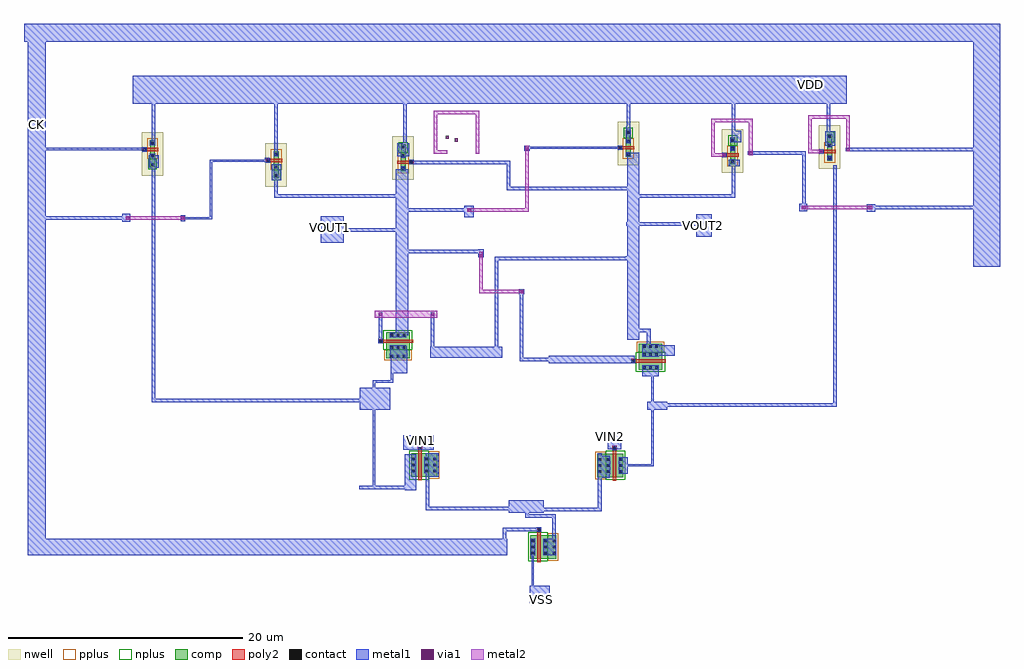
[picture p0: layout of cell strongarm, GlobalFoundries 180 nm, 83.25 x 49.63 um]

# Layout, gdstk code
from math import pi, radians
import gdstk
lib = gdstk.Library(unit=1e-6, precision=5e-09)
def R(c, l, rs):  # rectangles x0, y0, x1, y1
    for r in rs: c.add(gdstk.rectangle(r[:2], r[2:], *l))
def A(c, l, x, y, w, h, nx, ny, dx, dy):  # array of equal rectangles
    R(c, l, [(x+i*dx, y+j*dy, x+i*dx+w, y+j*dy+h) for i in range(nx) for j in range(ny)])
nwell = (21, 0)
comp = (22, 0)
poly2 = (30, 0)
pplus = (31, 0)
nplus = (32, 0)
contact = (33, 0)
metal1 = (34, 0)
via1 = (35, 0)
metal2 = (36, 0)

nfet = lib.new_cell('nfet')
R(nfet, comp, [(-0.42,0,0,2), (0,0,0.66,2), (0.66,0,1.08,2), (1.08,0,1.79,2)])
R(nfet, poly2, [(0.19,-0.3,0.47,2.3), (0.15,2.3,0.51,2.66)])
R(nfet, pplus, [(1.08,-0.17,1.96,2.17)])
R(nfet, nplus, [(-0.59,-0.24,1.08,2.24)])
A(nfet, contact, -0.32, 0.38, 0.22, 0.22, 1, 3, 0, 0.51)
A(nfet, contact, 0.76, 0.38, 0.22, 0.22, 1, 3, 0, 0.51)
A(nfet, contact, 1.47, 0.38, 0.22, 0.22, 1, 3, 0, 0.51)
R(nfet, contact, [(0.22,2.37,0.44,2.59)])
R(nfet, metal1, [(-0.4,0.3,-0.02,1.7), (0.68,0.3,1.06,1.7), (1.39,0.3,1.77,1.7), (0.14,2.29,0.52,2.67)])

pfet = lib.new_cell('pfet')
R(pfet, nwell, [(-1.16,-0.71,2.55,1.13)])
R(pfet, comp, [(-0.46,-0.01,0,0.43), (0.66,-0.01,1.12,0.43), (1.12,-0.01,1.85,0.43), (0,0,0.66,0.42)])
R(pfet, poly2, [(0.19,-0.3,0.47,0.72), (0.14,0.72,0.52,1.1)])
R(pfet, pplus, [(-0.63,-0.25,1.12,0.67)])
R(pfet, nplus, [(1.12,-0.17,2.02,0.59)])
R(pfet, contact, [(-0.34,0.1,-0.12,0.32), (0.78,0.1,1,0.32), (1.51,0.1,1.73,0.32), (0.22,0.8,0.44,1.02)])
R(pfet, metal1, [(-0.42,0.02,-0.04,0.4), (0.7,0.02,1.08,0.4), (1.43,0.02,1.81,0.4), (0.14,0.72,0.52,1.1)])

strongarm = lib.new_cell('strongarm')
R(strongarm, metal1, [(3.12,-19.96,4.85,-18.46), (-39.71,-15.84,-7.19,-14.44), (-39.71,-15.84,-38.17,29.5), (-11.31,-15.84,1.22,-14.44), (4.47,-15.84,5.37,-14.44), (1.35,-12.22,4.33,-11.18), (-7.52,-10.31,-6.56,-7.23), (8.93,-9.23,9.97,-7.36), (-5.735,-9.16,-4.63,-7.16), (10.71,-8.88,11.47,-7.48), (-7.66,-6.87,-5.07,-5.6), (9.79,-6.8,10.92,-5.53), (13.14,-3.45,14.85,-2.77), (-11.36,-3.44,-8.75,-1.57), (12.73,-0.57,14.13,0.36), (-8.71,-0.33,-7.31,1.7), (4.76,0.53,12.1,1.15), (-5.35,1.01,0.8,1.92), (-8.77,1.04,-7.37,1.96), (12.73,1.16,15.51,2.08), (11.46,2.51,12.47,18.5), (-8.29,2.92,-7.22,17.08), (2.2,6.4,2.65,6.85), (40.95,8.76,43.24,29.5), (-1.25,9.55,-0.78,10.24), (-14.7,10.82,-12.74,13.08), (17.31,11.31,18.64,13.23), (-31.62,12.58,-30.93,13.26), (-26.62,12.65,-26.24,13.14), (-2.47,13,-1.66,13.98), (31.87,13.44,32.58,14.1), (26.11,13.5,26.82,14.14), (-18.87,16.13,-18.05,16.69), (-18.89,16.36,-18.05,17.52), (-29.36,17.2,-28.52,18.28), (20.11,17.32,21.03,17.89), (-19.49,17.66,-19.11,18.04), (-8.17,18.18,-7.14,19.29), (2.65,18.64,3.13,19.07), (28.33,19.07,29.19,20.32), (20.34,19.37,21.18,20.37), (11.38,19.49,11.72,20.76), (-30.73,22.67,30.18,25.07), (-40.01,27.97,43.24,29.5)])
R(strongarm, via1, [(-9.73,4.56,-9.47,4.82), (-5.285,4.57,-5.025,4.83), (2.23,6.51,2.49,6.77), (-1.16,9.57,-0.9,9.83), (-31.27,12.76,-31.01,13.02), (-26.6,12.77,-26.34,13.03), (-2.12,13.46,-1.86,13.72), (26.42,13.68,26.68,13.94), (31.97,13.68,32.23,13.94), (19.55,18.15,19.81,18.41), (21.84,18.3,22.1,18.56), (27.83,18.46,28.09,18.72), (30.13,18.62,30.39,18.88), (2.76,18.69,3.02,18.95), (-3.26,19.44,-3,19.7), (-4.05,19.67,-3.79,19.93)])
R(strongarm, metal2, [(-10.1,4.42,-4.76,4.99)])
strongarm.add(gdstk.FlexPath([(-9.6,2.41),(-9.6,4.88)], 0.3, ends="flush", simple_path=True, layer=34, datatype=0))  # metal1
strongarm.add(gdstk.FlexPath([(-5.155,4.87),(-5.155,1.23)], 0.3, ends="flush", simple_path=True, layer=34, datatype=0))  # metal1
strongarm.add(gdstk.FlexPath([(-3.93,1.23),(0.3,1.23),(0.3,9.46),(11.46,9.46),(11.46,9.64)], 0.3, ends="flush", simple_path=True, layer=34, datatype=0))  # metal1
strongarm.add(gdstk.FlexPath([(-7.07,17.64),(1.31,17.64),(1.31,15.42),(11.63,15.42)], 0.3, ends="flush", simple_path=True, layer=34, datatype=0))  # metal1
strongarm.add(gdstk.FlexPath([(-1.73,13.59),(-7.72,13.59),(-7.72,13.44)], 0.3, ends="flush", simple_path=True, layer=34, datatype=0))  # metal1
strongarm.add(gdstk.FlexPath([(21.71,18.44),(26.51,18.44),(26.51,13.82)], 0.3, ends="flush", simple_path=True, layer=34, datatype=0))  # metal1
strongarm.add(gdstk.FlexPath([(28.61,20.08),(28.61,24.57),(28.59,24.57)], 0.3, ends="flush", simple_path=True, layer=34, datatype=0))  # metal1
strongarm.add(gdstk.FlexPath([(30.07,18.74),(42.29,18.74)], 0.3, ends="flush", simple_path=True, layer=34, datatype=0))  # metal1
strongarm.add(gdstk.FlexPath([(-18.51,18.43),(-18.51,23.12),(-18.57,23.12)], 0.3, ends="flush", simple_path=True, layer=34, datatype=0))  # metal1
strongarm.add(gdstk.FlexPath([(-29.68,18.8),(-38.87,18.8)], 0.2, ends="flush", simple_path=True, layer=34, datatype=0))  # metal1
strongarm.add(gdstk.FlexPath([(3.78,-11.95),(9.1,-11.95),(9.1,-7.17),(9.1,-7.17)], 0.3, ends="flush", simple_path=True, layer=34, datatype=0))  # metal1
strongarm.add(gdstk.FlexPath([(-7.515,18.715),(-7.515,23.4),(-7.37,23.4)], 0.3, ends="flush", simple_path=True, layer=34, datatype=0))  # metal1
strongarm.add(gdstk.FlexPath([(10.9,-8.18),(13.61,-8.18),(13.61,-0.02)], 0.2, ends="flush", simple_path=True, layer=34, datatype=0))  # metal1
strongarm.add(gdstk.FlexPath([(-19.32,17.8),(-24.07,17.8),(-24.07,12.895),(-26.43,12.895)], 0.2, ends="flush", simple_path=True, layer=34, datatype=0))  # metal1
strongarm.add(gdstk.FlexPath([(-6.73,-10.06),(-11.42,-10.06)], 0.3, ends="flush", simple_path=True, layer=34, datatype=0))  # metal1
strongarm.add(gdstk.FlexPath([(3.39,-14.63),(3.39,-20.13)], 0.2, ends="flush", simple_path=True, layer=34, datatype=0))  # metal1
strongarm.add(gdstk.FlexPath([(13.28,1.65),(13.28,3.33),(11.66,3.33),(11.66,3.33)], 0.3, ends="flush", simple_path=True, layer=34, datatype=0))  # metal1
strongarm.add(gdstk.FlexPath([(10.87,18.91),(2.76,18.91)], 0.2, ends="flush", simple_path=True, layer=34, datatype=0))  # metal1
strongarm.add(gdstk.FlexPath([(-8.61,0.39),(-8.61,-1.02),(-10.17,-1.02),(-10.17,-10.06)], 0.2, ends="flush", simple_path=True, layer=34, datatype=0))  # metal1
strongarm.add(gdstk.FlexPath([(3.93,-13.66),(0.96,-13.66),(0.96,-15.13),(0.96,-15.13)], 0.3, ends="flush", simple_path=True, layer=34, datatype=0))  # metal1
strongarm.add(gdstk.FlexPath([(1.8,-11.85),(-5.59,-11.85),(-5.59,-7.62),(-5.4,-7.62)], 0.3, ends="flush", simple_path=True, layer=34, datatype=0))  # metal1
strongarm.add(gdstk.FlexPath([(5.18,-15.65),(5.18,-12.52),(2.88,-12.52),(2.88,-11.5),(2.88,-11.5)], 0.3, ends="flush", simple_path=True, layer=34, datatype=0))  # metal1
strongarm.add(gdstk.FlexPath([(6.18,0.85),(2.43,0.85),(2.43,6.785),(2.43,6.785)], 0.3, ends="flush", simple_path=True, layer=34, datatype=0))  # metal1
strongarm.add(gdstk.FlexPath([(-0.88,10.045),(-7.88,10.045)], 0.3, ends="flush", simple_path=True, layer=34, datatype=0))  # metal1
strongarm.add(gdstk.FlexPath([(-7.95,11.88),(-13.73,11.88),(-13.73,11.96)], 0.3, ends="flush", simple_path=True, layer=34, datatype=0))  # metal1
strongarm.add(gdstk.FlexPath([(11.37,12.39),(17.86,12.39)], 0.3, ends="flush", simple_path=True, layer=34, datatype=0))  # metal1
strongarm.add(gdstk.FlexPath([(11.57,20.43),(11.57,24.01)], 0.3, ends="flush", simple_path=True, layer=34, datatype=0))  # metal1
strongarm.add(gdstk.FlexPath([(-8.09,14.79),(-18.51,14.79),(-18.51,17.24),(-18.51,17.24)], 0.3, ends="extended", simple_path=True, layer=34, datatype=0))  # metal1
strongarm.add(gdstk.FlexPath([(-28.98,19.31),(-28.98,23.78),(-28.87,23.78)], 0.3, ends="flush", simple_path=True, layer=34, datatype=0))  # metal1
strongarm.add(gdstk.FlexPath([(-28.98,17.5),(-28.98,-2.67),(-9.69,-2.67),(-9.69,-2.67)], 0.3, ends="flush", simple_path=True, layer=34, datatype=0))  # metal1
strongarm.add(gdstk.FlexPath([(-31.31,12.9),(-39.05,12.9)], 0.3, ends="flush", simple_path=True, layer=34, datatype=0))  # metal1
strongarm.add(gdstk.FlexPath([(20.49,19.6),(20.49,23.83),(20.46,23.83)], 0.3, ends="flush", simple_path=True, layer=34, datatype=0))  # metal1
strongarm.add(gdstk.FlexPath([(20.49,17.72),(20.49,14.8),(11.5,14.8)], 0.3, ends="flush", simple_path=True, layer=34, datatype=0))  # metal1
strongarm.add(gdstk.FlexPath([(29.15,17.42),(29.15,-3.05),(13.965,-3.05),(13.965,-3.12)], 0.3, ends="flush", simple_path=True, layer=34, datatype=0))  # metal1
strongarm.add(gdstk.FlexPath([(32.165,13.815),(42.1,13.815),(42.1,14.06)], 0.3, ends="flush", simple_path=True, layer=34, datatype=0))  # metal1
strongarm.add(gdstk.FlexPath([(-3.92,18.54),(-4.91,18.54),(-4.91,21.92),(-1.32,21.92),(-1.32,18.54),(-1.17,18.54)], 0.3, ends="flush", simple_path=True, layer=36, datatype=0))  # metal2
strongarm.add(gdstk.FlexPath([(19.84,18.28),(18.76,18.28),(18.76,21.22),(21.98,21.22),(21.98,18.28),(21.98,18.28)], 0.3, ends="flush", simple_path=True, layer=36, datatype=0))  # metal2
strongarm.add(gdstk.FlexPath([(28.12,18.59),(27.04,18.59),(27.04,21.53),(30.26,21.53),(30.26,18.59),(30.26,18.59)], 0.3, ends="flush", simple_path=True, layer=36, datatype=0))  # metal2
strongarm.add(gdstk.FlexPath([(-1.025,10.025),(-1.025,6.64),(2.58,6.64)], 0.3, ends="flush", simple_path=True, layer=36, datatype=0))  # metal2
strongarm.add(gdstk.FlexPath([(-2.195,13.59),(2.89,13.59),(2.89,19.06)], 0.3, ends="flush", simple_path=True, layer=36, datatype=0))  # metal2
strongarm.add(gdstk.FlexPath([(-31.33,12.9),(-26.27,12.9)], 0.3, ends="flush", simple_path=True, layer=36, datatype=0))  # metal2
strongarm.add(gdstk.FlexPath([(32.34,13.81),(26.35,13.81)], 0.3, ends="flush", simple_path=True, layer=36, datatype=0))  # metal2
strongarm.add(gdstk.Reference(nfet, (10.69,-9.18), rotation=pi, x_reflection=True))
strongarm.add(gdstk.Reference(nfet, (-6.56,-9.16)))
strongarm.add(gdstk.Reference(nfet, (14.43,0.38), rotation=pi/2))
strongarm.add(gdstk.Reference(nfet, (-7.12,2.74), rotation=3*pi/2, x_reflection=True))
strongarm.add(gdstk.Reference(nfet, (3.6,-16.14)))
strongarm.add(gdstk.Reference(pfet, (11.75,18.58), rotation=pi/2))
strongarm.add(gdstk.Reference(pfet, (-18.29,18.15), rotation=3*pi/2, x_reflection=True))
strongarm.add(gdstk.Reference(pfet, (-7.88,17.35), rotation=pi/2, x_reflection=True))
strongarm.add(gdstk.Reference(pfet, (-28.84,19.09), rotation=3*pi/2, x_reflection=True))
strongarm.add(gdstk.Reference(pfet, (20.64,17.95), rotation=pi/2))
strongarm.add(gdstk.Reference(pfet, (28.92,18.27), rotation=pi/2))
strongarm.add(gdstk.Label('VOUT1', (-13.85,12.08), layer=34, texttype=10))
strongarm.add(gdstk.Label('VIN1', (-6.12,-6.03), layer=34, texttype=10))
strongarm.add(gdstk.Label('VIN2', (10,-5.75), layer=34, texttype=10))
strongarm.add(gdstk.Label('VSS', (4.13,-19.64), layer=34, texttype=10))
strongarm.add(gdstk.Label('VOUT2', (17.975,12.27), layer=34, texttype=10))
strongarm.add(gdstk.Label('VDD', (27.04,24.34), layer=34, texttype=10))
strongarm.add(gdstk.Label('CK', (-38.94,20.9), layer=34, texttype=10))

lib.write_gds('strongarm.gds')
